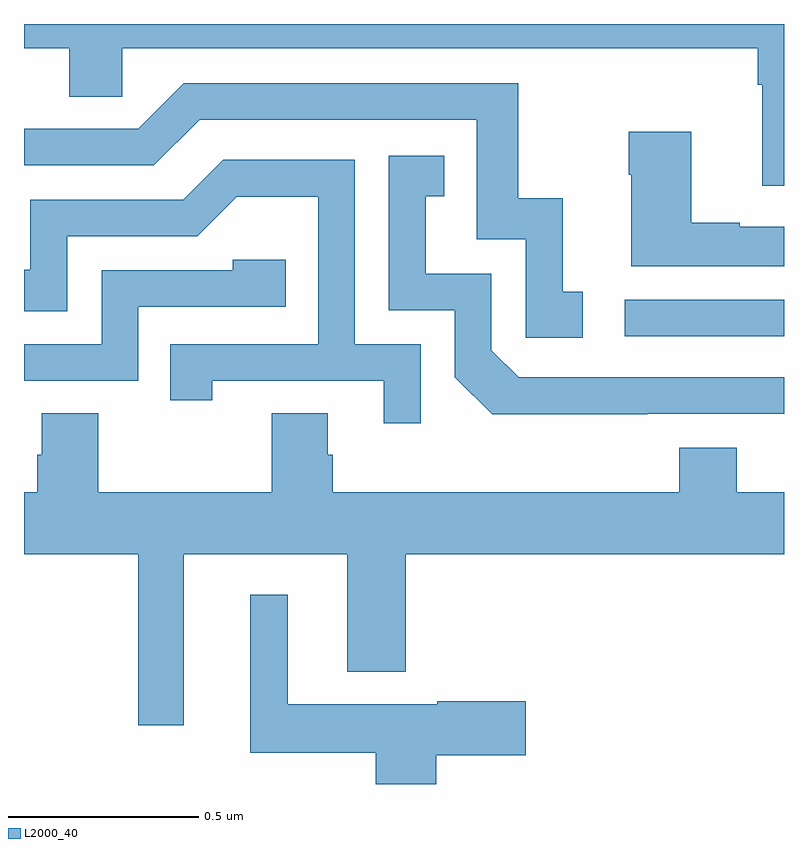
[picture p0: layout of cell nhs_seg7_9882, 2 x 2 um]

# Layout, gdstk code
import gdstk
lib = gdstk.Library(unit=1e-6, precision=1e-09)
def R(c, l, rs):  # rectangles x0, y0, x1, y1
    for r in rs: c.add(gdstk.rectangle(r[:2], r[2:], *l))
def P(c, l, *ps):  # polygons
    for p in ps: c.add(gdstk.Polygon(p, *l))
L2000_40 = (2000, 40)

nhs_seg7_9882 = lib.new_cell('nhs_seg7_9882')
R(nhs_seg7_9882, L2000_40, [(244.581,1013.178,245,1013.274)])
P(nhs_seg7_9882, L2000_40, [(245,1014),(243,1014),(243,1013.936),(243.119,1013.936),(243.119,1013.809),(243.258,1013.809),(243.258,1013.936),(244.931,1013.936),(244.931,1013.84),(244.943,1013.84),(244.943,1013.574),(245,1013.574)],
  [(244.471,1013.295),(244.418,1013.295),(244.418,1013.542),(244.3,1013.542),(244.3,1013.844),(243.42,1013.844),(243.3,1013.724),(243,1013.724),(243,1013.628),(243.342,1013.628),(243.462,1013.748),(244.191,1013.748),(244.191,1013.433),(244.32,1013.433),(244.32,1013.175),(244.471,1013.175)],
  [(245,1013.467),(244.883,1013.467),(244.883,1013.477),(244.756,1013.477),(244.756,1013.716),(244.591,1013.716),(244.591,1013.603),(244.598,1013.603),(244.598,1013.363),(245,1013.363)],
  [(244.64,1012.974),(245,1012.974),(245,1013.07),(244.302,1013.07),(244.23,1013.142),(244.23,1013.343),(244.057,1013.343),(244.057,1013.547),(244.106,1013.547),(244.106,1013.653),(243.96,1013.653),(243.96,1013.247),(244.134,1013.247),(244.134,1013.07),(244.232,1012.973),(244.64,1012.973)],
  [(244.044,1013.157),(243.87,1013.157),(243.87,1013.643),(243.524,1013.643),(243.419,1013.538),(243.016,1013.538),(243.016,1013.353),(243,1013.353),(243,1013.244),(243.114,1013.244),(243.114,1013.442),(243.456,1013.442),(243.56,1013.546),(243.774,1013.546),(243.774,1013.157),(243.385,1013.157),(243.385,1013.01),(243.496,1013.01),(243.496,1013.061),(243.947,1013.061),(243.947,1012.95),(244.044,1012.95)],
  [(243.3,1013.256),(243.689,1013.256),(243.689,1013.379),(243.549,1013.379),(243.549,1013.352),(243.204,1013.352),(243.204,1013.157),(243,1013.157),(243,1013.061),(243.3,1013.061)],
  [(243.421,1012.604),(243.851,1012.604),(243.851,1012.295),(244.004,1012.295),(244.004,1012.604),(245,1012.604),(245,1012.768),(244.876,1012.768),(244.876,1012.885),(244.724,1012.885),(244.724,1012.768),(243.812,1012.768),(243.812,1012.866),(243.799,1012.866),(243.799,1012.976),(243.652,1012.976),(243.652,1012.768),(243.195,1012.768),(243.195,1012.976),(243.047,1012.976),(243.047,1012.866),(243.035,1012.866),(243.035,1012.768),(243,1012.768),(243,1012.604),(243.3,1012.604),(243.3,1012.155),(243.421,1012.155)],
  [(244.085,1012.076),(244.321,1012.076),(244.321,1012.218),(244.087,1012.218),(244.087,1012.21),(243.694,1012.21),(243.694,1012.498),(243.596,1012.498),(243.596,1012.082),(243.926,1012.082),(243.926,1012),(244.085,1012)])

lib.write_gds('nhs_seg7_9882.gds')
